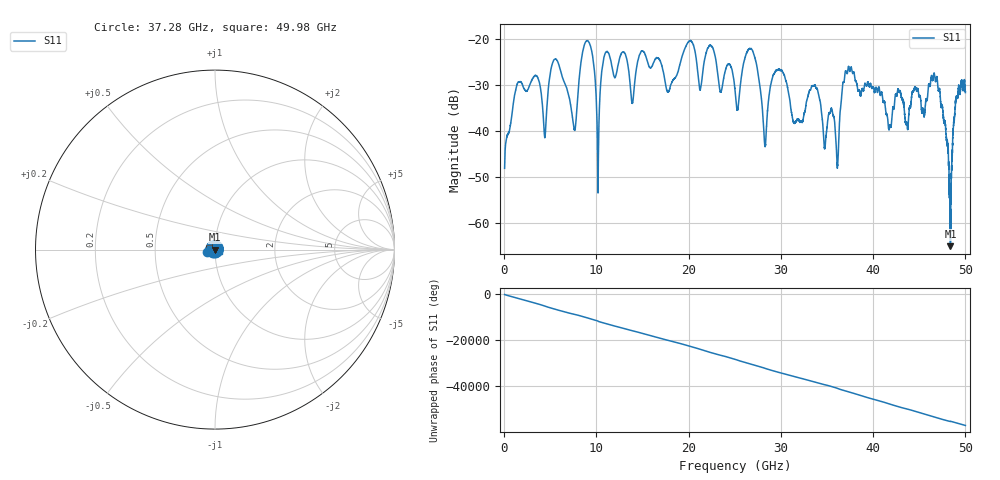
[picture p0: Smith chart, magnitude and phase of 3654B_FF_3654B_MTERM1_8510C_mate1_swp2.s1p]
!Created with skrf (http://scikit-rf.org).
# Hz S RI R 50.0
!freq ReS11 ImS11
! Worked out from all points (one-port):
!   10001 points, 45 MHz to 50 GHz, reference 50 ohm
!   lowest |S11| = -65.0 dB at 48.38 GHz (marker M1), VSWR 1.00, Z = 50 - j0.0558 ohm
!   |S11| at or under -10 dB: start of sweep to end of sweep
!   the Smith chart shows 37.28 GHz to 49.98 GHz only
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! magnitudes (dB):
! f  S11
! 45 MHz  -48.1
! 1.544 GHz  -29.4
! 3.567 GHz  -28.2
! 4.396 GHz  -41.4
! 5.28 GHz  -25.1
! 6.289 GHz  -28.2
! 7.623 GHz  -39.8
! 9.137 GHz  -20.6
! 10.18 GHz  -51.8
! 10.92 GHz  -23.3
! 12.53 GHz  -24.1
! 13.89 GHz  -34.0
! 14.93 GHz  -22.7
! 18.78 GHz  -27.5
! 22.4 GHz  -21.5
! 25.02 GHz  -31.2
! 26.72 GHz  -22.2
! 28.25 GHz  -43.1
! 29.62 GHz  -26.8
! 31.27 GHz  -37.3
! 33.67 GHz  -30.0
! 36.1 GHz  -47.3
! 37.51 GHz  -26.9
! 43.76 GHz  -39.7
! 46.75 GHz  -29.2
! 48.38 GHz  -65.0
! 49.08 GHz  -32.6
! 50 GHz  -31.7
